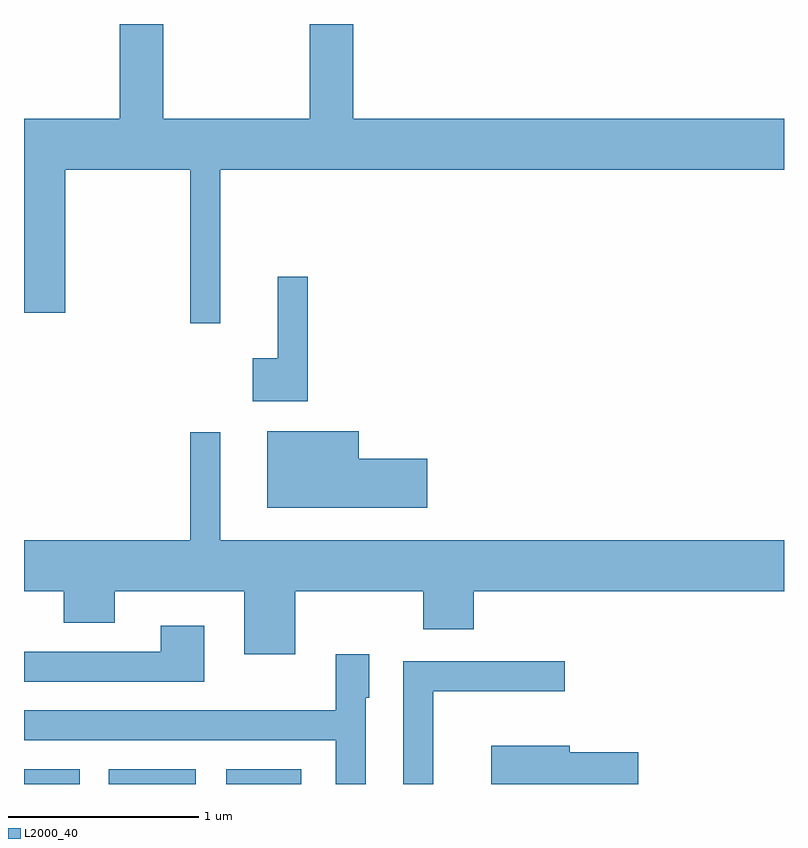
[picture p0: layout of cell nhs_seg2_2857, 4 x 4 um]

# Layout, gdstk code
import gdstk
lib = gdstk.Library(unit=1e-6, precision=1e-09)
def R(c, l, rs):  # rectangles x0, y0, x1, y1
    for r in rs: c.add(gdstk.rectangle(r[:2], r[2:], *l))
def P(c, l, *ps):  # polygons
    for p in ps: c.add(gdstk.Polygon(p, *l))
L2000_40 = (2000, 40)

nhs_seg2_2857 = lib.new_cell('nhs_seg2_2857')
R(nhs_seg2_2857, L2000_40, [(269.611,991.802,269.904,991.879), (270.056,991.802,270.514,991.879), (270.676,991.802,271.069,991.879)])
P(nhs_seg2_2857, L2000_40, [(270.644,995.036),(273.611,995.036),(273.611,995.304),(271.344,995.304),(271.344,995.802),(271.116,995.802),(271.116,995.304),(270.344,995.304),(270.344,995.802),(270.116,995.802),(270.116,995.304),(269.611,995.304),(269.611,994.281),(269.829,994.281),(269.829,995.036),(270.486,995.036),(270.486,994.228),(270.644,994.228)],
  [(271.104,994.473),(270.946,994.473),(270.946,994.044),(270.816,994.044),(270.816,993.816),(271.104,993.816)],
  [(271.734,993.514),(271.374,993.514),(271.374,993.659),(270.891,993.659),(270.891,993.256),(271.734,993.256)],
  [(271.039,992.816),(271.711,992.816),(271.711,992.616),(271.979,992.616),(271.979,992.816),(273.611,992.816),(273.611,993.084),(270.644,993.084),(270.644,993.653),(270.486,993.653),(270.486,993.084),(269.611,993.084),(269.611,992.816),(269.821,992.816),(269.821,992.651),(270.089,992.651),(270.089,992.816),(270.771,992.816),(270.771,992.486),(271.039,992.486)],
  [(270.559,992.634),(270.331,992.634),(270.331,992.499),(269.611,992.499),(269.611,992.341),(270.559,992.341)],
  [(271.409,992.256),(271.429,992.256),(271.429,992.484),(271.251,992.484),(271.251,992.189),(269.611,992.189),(269.611,992.031),(271.251,992.031),(271.251,991.802),(271.409,991.802)],
  [(271.764,992.291),(272.458,992.291),(272.458,992.449),(271.606,992.449),(271.606,991.802),(271.764,991.802)],
  [(272.844,991.969),(272.484,991.969),(272.484,992.004),(272.071,992.004),(272.071,991.802),(272.844,991.802)])

lib.write_gds('nhs_seg2_2857.gds')
